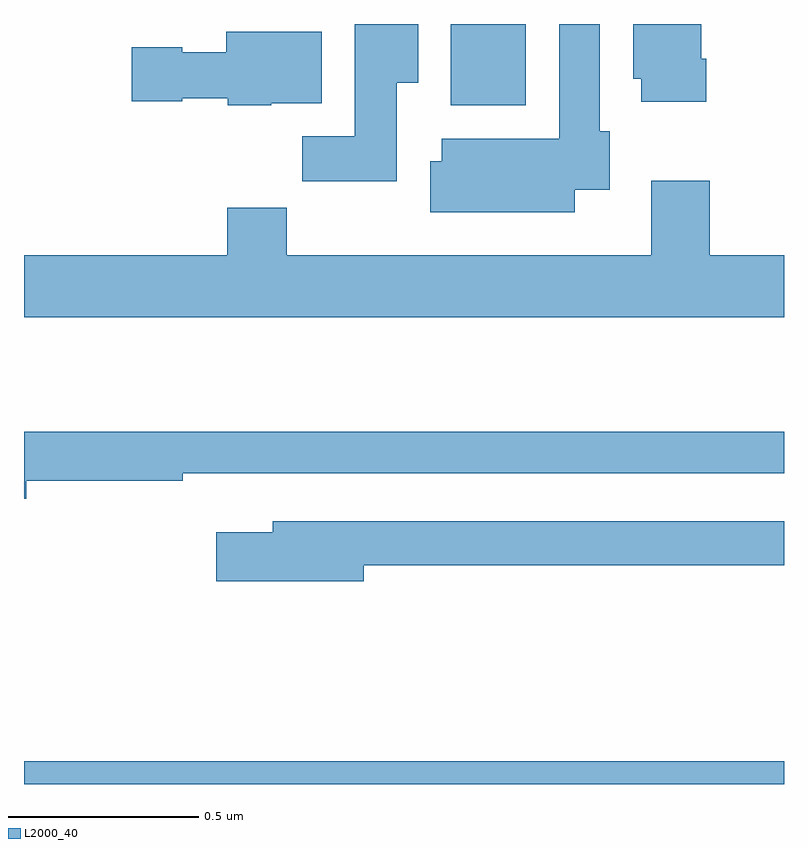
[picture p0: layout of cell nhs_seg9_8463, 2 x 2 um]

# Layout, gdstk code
import gdstk
lib = gdstk.Library(unit=1e-6, precision=1e-09)
def R(c, l, rs):  # rectangles x0, y0, x1, y1
    for r in rs: c.add(gdstk.rectangle(r[:2], r[2:], *l))
def P(c, l, *ps):  # polygons
    for p in ps: c.add(gdstk.Polygon(p, *l))
L2000_40 = (2000, 40)

nhs_seg9_8463 = lib.new_cell('nhs_seg9_8463')
R(nhs_seg9_8463, L2000_40, [(217,1220.5,219,1220.56), (218.123,1222.286,218.32,1222.5)])
P(nhs_seg9_8463, L2000_40, [(217.981,1222.345),(218.038,1222.345),(218.038,1222.5),(217.871,1222.5),(217.871,1222.204),(217.732,1222.204),(217.732,1222.086),(217.981,1222.086)],
  [(218.449,1222.064),(218.542,1222.064),(218.542,1222.218),(218.515,1222.218),(218.515,1222.5),(218.408,1222.5),(218.408,1222.198),(218.099,1222.198),(218.099,1222.139),(218.069,1222.139),(218.069,1222.004),(218.449,1222.004)],
  [(218.795,1222.408),(218.782,1222.408),(218.782,1222.5),(218.603,1222.5),(218.603,1222.356),(218.624,1222.356),(218.624,1222.296),(218.795,1222.296)],
  [(217.65,1222.292),(217.783,1222.292),(217.783,1222.48),(217.532,1222.48),(217.532,1222.426),(217.416,1222.426),(217.416,1222.439),(217.284,1222.439),(217.284,1222.297),(217.416,1222.297),(217.416,1222.304),(217.536,1222.304),(217.536,1222.286),(217.65,1222.286)],
  [(219,1221.892),(218.804,1221.892),(218.804,1222.087),(218.651,1222.087),(218.651,1221.892),(217.691,1221.892),(217.691,1222.016),(217.535,1222.016),(217.535,1221.892),(217,1221.892),(217,1221.728),(219,1221.728)],
  [(217.006,1221.298),(217.418,1221.298),(217.418,1221.318),(219,1221.318),(219,1221.427),(217,1221.427),(217,1221.251),(217.006,1221.251)],
  [(217.894,1221.076),(219,1221.076),(219,1221.192),(217.655,1221.192),(217.655,1221.163),(217.506,1221.163),(217.506,1221.034),(217.894,1221.034)])

lib.write_gds('nhs_seg9_8463.gds')
